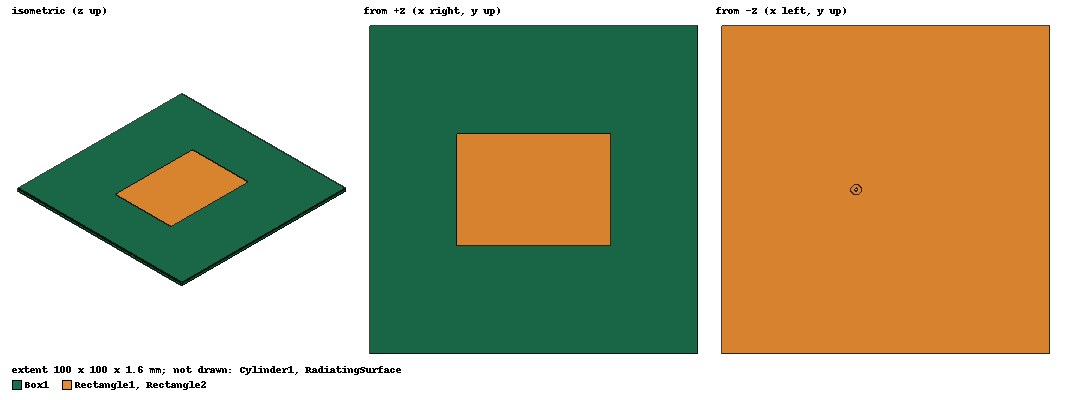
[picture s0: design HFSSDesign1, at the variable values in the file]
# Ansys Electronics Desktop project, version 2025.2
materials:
  vacuum: permittivity=1
  FR4_epoxy: permittivity=4.4 dielectric_loss_tangent=0.02
  pec: conductivity=1e+30

design HFSSDesign1 (HFSS, HFSS Terminal Network, model units mm)
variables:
  L_sub = 100mm
  W_sub = 100mm
  h_sub = 1.6mm
  L_patch = 34mm
  W_patch = 47.1mm
  Feed_X = 9mm
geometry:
  Box1 [FR4_epoxy] = box(corner=(-W_sub/2, -L_sub/2, 0mm), size=(W_sub, L_sub, h_sub))
  Rectangle1 = rectangle(corner=(-W_sub/2, -L_sub/2, 0mm), x_size=W_sub, y_size=L_sub)
  Rectangle2 = rectangle(corner=(-W_patch/2, -L_patch/2, h_sub), x_size=W_patch, y_size=L_patch)
  Cylinder1 [vacuum] = cylinder(axis=Z, base_centre=(Feed_X, 0mm, 0mm), radius=1.6mm, height=h_sub)
  Cylinder2 [pec] = cylinder(axis=Z, base_centre=(Feed_X, 0mm, 0mm), radius=0.5mm, height=h_sub)
  Cylinder1_1 = Cylinder1.copy()
  Box1.subtract(Cylinder1_1)
  Cylinder1_2 = Cylinder1.copy()
  Rectangle1.subtract(Cylinder1_2)
  RadiatingSurface [vacuum] = region(absolute_offset=66.666667mm on all sides)
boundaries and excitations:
  PerfE1: Perfect E Objects=Rectangle1
  PerfE2: Perfect E Objects=Rectangle2
  PerfE3: Perfect E Objects=Rectangle1
  PerfE4: Perfect E Objects=Rectangle2
  Open1: Radiation Objects=RadiatingSurface
  Cylinder2_T1: Terminal port=1 Faces=Cylinder2.face(-z end) TerminalResistance=50ohm
  1: Lumped Port Faces=Cylinder1.face(-z end) LumpedPortType=Terminal Impedance=50ohm
  reference conductors: Rectangle1
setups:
  Setup1: HfssDriven Frequency=1.5GHz MaxDeltaS=0.02 MaximumPasses=10 MinimumPasses=1 MinimumConvergedPasses=1 PercentRefinement=30 BasisOrder=1 PortAccuracy=2 DrivenSolverType="Direct Solver"
    sweep Sweep1: 1GHz to 2GHz, 401 points; Type=Fast SaveFields
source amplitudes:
  1:1: 1V 0deg
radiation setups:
  3D: Infinite Sphere Theta=0deg..180deg step 2deg Phi=-180deg..180deg step 2deg
  Elevation: Infinite Sphere Theta=-180deg..180deg step 1deg Phi=0deg..90deg step 90deg
  Azimuth: Infinite Sphere Theta=90deg..90deg step 0deg Phi=-180deg..180deg step 1deg
  Infinite Sphere1: Infinite Sphere Theta=0deg..180deg step 2deg Phi=-180deg..180deg step 2deg
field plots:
  Mag_E1: E Field over Rectangle2.face on Setup1 : LastAdaptive at Freq=1.5GHz Phase=0deg
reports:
  Return Loss Plot: dB(St(Cylinder2_T1,Cylinder2_T1)) vs Freq on Setup1 : Sweep1
  VSWR: VSWRt(Cylinder2_T1) vs Freq on Setup1 : Sweep1 [L_patch=all W_patch=all]
  3D-Polar Plot: dB(GainTotal) vs Phi, Theta on Setup1 : LastAdaptive, 3D [Freq=1.5GHz L_patch=25mm W_patch=42mm]
  E-Plane: dB(GainTotal) vs Theta on Setup1 : LastAdaptive, 3D [Phi=0deg Freq=1.5GHz L_patch=34mm W_patch=47.1mm]
  H-Plane: dB(GainTotal) vs Theta on Setup1 : LastAdaptive, 3D [Phi=90deg Freq=1.5GHz L_patch=34mm W_patch=47.1mm]
  Smith Chart: St(Cylinder2_T1,Cylinder2_T1) on Setup1 : Sweep1 [Freq=all L_patch=all W_patch=all]
